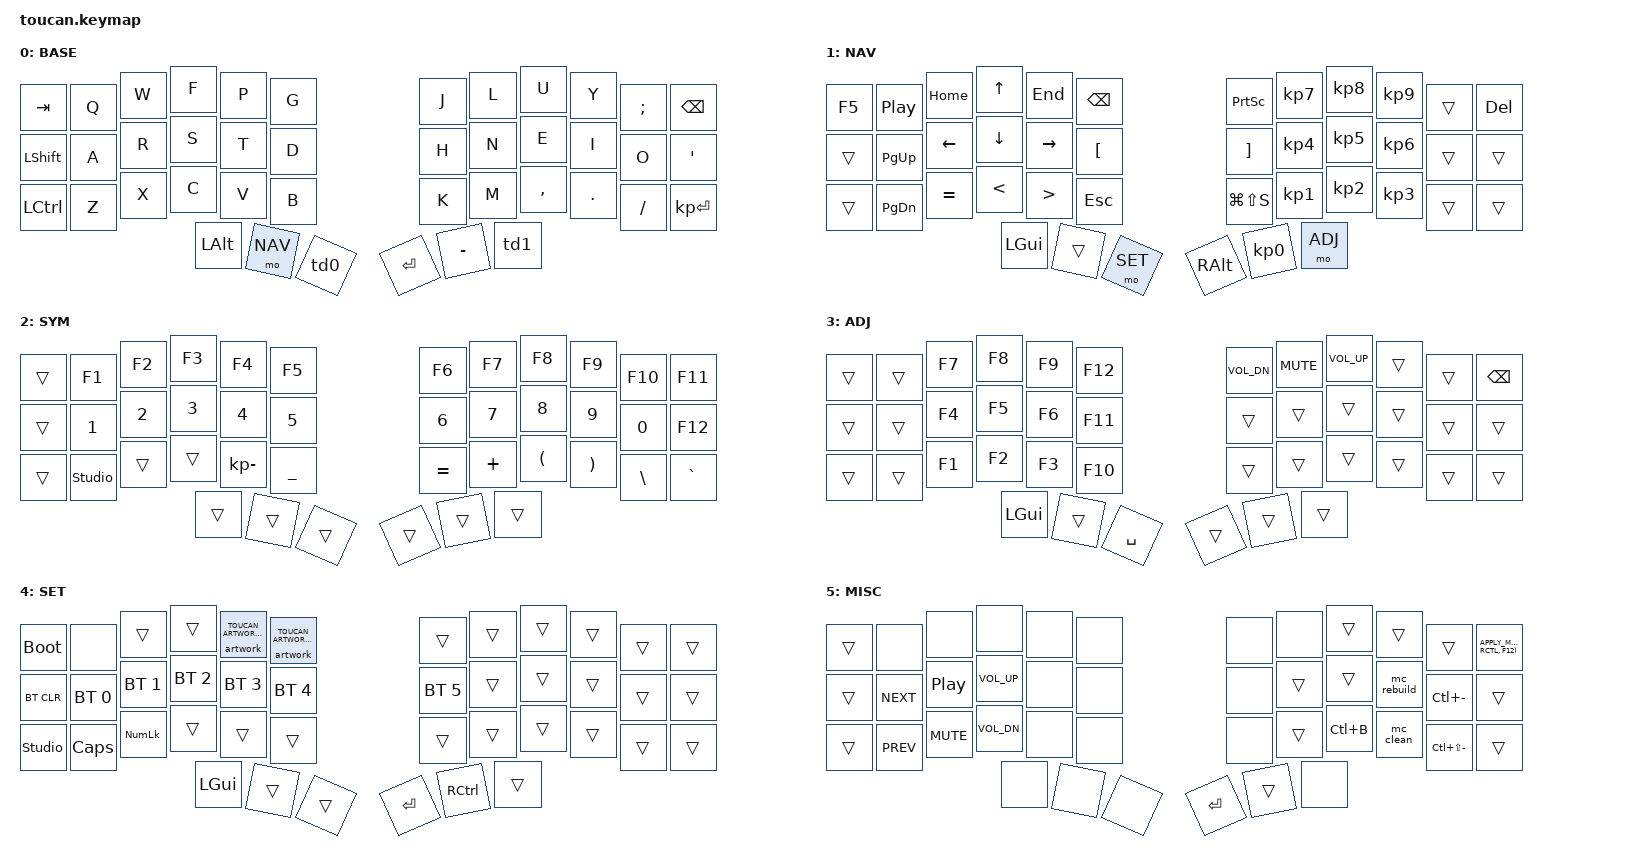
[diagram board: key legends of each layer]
#include <behaviors.dtsi>
#include <dt-bindings/zmk/keys.h>
#include <dt-bindings/zmk/bt.h>
#include <dt-bindings/zmk/outputs.h>
#include <dt-bindings/zmk/pointing.h>
#include <dt-bindings/zmk/toucan_screen.h>
#include <dt-bindings/zmk/toucan_artwork.h>


#define BASE 0
#define NAV  1
#define SYM  2
#define ADJ  3
#define SET  4
#define MISC 5

/ {
	behaviors {
		screen: toucan_screen {
			compatible = "zmk,behavior-toucan-screen";
			#binding-cells = <1>;
			display-name = "Toucan Screen";
		};

		artwork: toucan_artwork {
			compatible = "zmk,behavior-toucan-artwork";
			#binding-cells = <1>;
			display-name = "Toucan Artwork";
		};

		// Enables holding the first mod-tap key
		// by performing a tap-release-hold sequence.
		// To use it: "&qt KEYCODE1 KEYCODE2"
		qt: quick_tap {
			compatible = "zmk,behavior-hold-tap";
			label = "QUICK_TAP";
			#binding-cells = <2>;
			flavor = "hold-preferred";
			tapping-term-ms = <200>;
			quick-tap-ms = <200>;
			bindings = <&kp>, <&kp>;
		};
		
		tp: tap_prefered {
			compatible = "zmk,behavior-hold-tap";
			label = "TAP_PREFERRED";
			#binding-cells = <2>;
			flavor = "tap-preferred";
			tapping-term-ms = <200>;
			quick-tap-ms = <200>;
			bindings = <&kp>, <&kp>;
		};
		
		td0: tap_dance_win_space {
            compatible = "zmk,behavior-tap-dance";
            #binding-cells = <0>;
            tapping-term-ms = <200>;
            bindings = <&kp SPACE>, <&kp LGUI>;
        };
		
		td1: tap_dance_SYM_MISC {
            compatible = "zmk,behavior-tap-dance";
            #binding-cells = <0>;
            tapping-term-ms = <200>;
            bindings = <&mo SYM>, <&mo MISC>;
        };
		
		//td2: tap_dance_enter_fn2 {
        //    compatible = "zmk,behavior-tap-dance";
        //    #binding-cells = <0>;
        //    tapping-term-ms = <200>;
        //    bindings = <&kp ENTER>, <&mo FROWFNC2>;
        //};
		
		td3: tap_dance_ctrl_sym1 {
            compatible = "zmk,behavior-tap-dance";
            #binding-cells = <0>;
            tapping-term-ms = <200>;
            bindings = <&kp LCTRL>, <&sl 3>;
        };
		
		//td4: tap_dance_sticky_ctrl {
        //    compatible = "zmk,behavior-tap-dance";
        //    #binding-cells = <0>;
        //    tapping-term-ms = <200>;
        //    bindings = <&sk LCTRL>, <&kp LCTRL>;
        //};
	};

    combos {
        compatible = "zmk,combos";

        screen_next {
            timeout-ms = <50>;
            key-positions = <1 2>;
            bindings = <&screen TOUCAN_SCREEN_NEXT>;
            layers = <SET>;
        };
    };

	macros {
		// sometimes my device thinks a modifier is being held down
		// pressing all modifiers fixes it.
		unstick: unstick {
			label = "ZM_unstick";
			compatible = "zmk,behavior-macro";
			#binding-cells = <0>;
			bindings = <&kp LSHIFT &kp RSHIFT &kp LCTRL &kp RCTRL &kp LALT &kp RALT &kp LGUI &kp RGUI>;
		};
		
		mc_rebuild: mc_rebuild {
            compatible = "zmk,behavior-macro";
            #binding-cells = <0>;
			wait-ms = <10>;
            bindings
                = <&kp LC(K)>
                , <&macro_wait_time 50>
                , <&kp LC(LS(B))>
                ;
        };
		
		mc_clean: mc_clean {
            compatible = "zmk,behavior-macro";
            #binding-cells = <0>;
			wait-ms = <10>;
            bindings
                = <&kp LC(K)>
                , <&macro_wait_time 50>
                , <&kp LC(LS(C))>
                ;
        };
		
		mc_toggle_comment: mc_toggle_comment {
            compatible = "zmk,behavior-macro";
            #binding-cells = <0>;
			wait-ms = <10>;
            bindings
                = <&kp LC(K)>
                , <&macro_wait_time 50>
                , <&kp LC(FSLH)>
                ;
        };
	};

    // conditional_layers {
    //     compatible = "zmk,conditional-layers";
	//     tri_layer {
    //         if-layers = <1 2>;
    //         then-layer = <3>;
    //     };
    // };

    keymap {
        compatible = "zmk,keymap";

        base {
            display-name = "BASE";
            bindings = <
                &kp TAB   &kp Q &kp W &kp F &kp P &kp G         &kp J &kp L  &kp U     &kp Y   &kp SEMI &kp BSPC
                &kp LSHFT &kp A &kp R &kp S &kp T &kp D         &kp H &kp N  &kp E     &kp I   &kp O    &kp SQT
                &kp LCTRL &kp Z &kp X &kp C &kp V &kp B         &kp K &kp M  &kp COMMA &kp DOT &kp FSLH &kp KP_ENTER
                                &kp LALT &mo NAV &td0           &kp RET  &kp MINUS &td1
            >;
        };

        nav {
            display-name = "NAV";
            bindings = <
                &kp F5  &kp C_PP   &kp HOME  &kp UP    &kp END   &kp BSPC       &kp PSCRN    &kp KP_N7      &kp KP_N8 &kp KP_N9    &trans &kp DEL
                &trans  &kp PG_UP  &kp LEFT  &kp DOWN  &kp RIGHT &kp LBKT       &kp RBKT     &kp KP_N4      &kp KP_N5 &kp KP_N6 &trans &trans
                &trans  &kp PG_DN  &kp EQUAL &kp LT    &kp GT    &kp ESC        &kp LG(LS(S)) &kp KP_N1      &kp KP_N2 &kp KP_N3 &trans &trans
                                        	 &kp LGUI  &trans    &mo SET        &kp RALT     &kp KP_N0      &mo ADJ 
            >;
        };

        sym {
            display-name = "SYM";
            bindings = <
                &trans &kp F1   &kp F2   &kp F3   &kp F4   &kp F5      &kp F6 &kp F7  &kp F8 &kp F9 &kp F10 &kp F11
                &trans &kp N1   &kp N2   &kp N3   &kp N4   &kp N5      &kp N6 &kp N7  &kp N8  &kp N9 &kp N0 &kp F12 
                &trans &studio_unlock &trans &trans &kp KP_MINUS &kp UNDER      &kp EQUAL &kp PLUS  &kp LPAR &kp RPAR &kp BSLH &kp GRAVE
                                	  &trans &trans &trans             &trans   &trans    &trans
            >;
        };

        adj {
            display-name = "ADJ";
            bindings = <
                &trans   &trans &kp F7 &kp F8 &kp F9 &kp F12   &kp C_VOL_DN &kp C_MUTE  &kp C_VOL_UP &trans &trans &kp BSPC
                &trans  &trans &kp F4 &kp F5 &kp F6 &kp F11   &trans       &trans      &trans       &trans &trans &trans
                &trans  &trans &kp F1 &kp F2 &kp F3 &kp F10   &trans       &trans      &trans       &trans &trans &trans
                                   &kp LGUI &trans  &kp SPACE   &trans &trans &trans
            >;
        };
    	set  {
            display-name = "SET";
            bindings = <
                &bootloader    &none         &trans        &trans        &artwork TOUCAN_ARTWORK_PREV &artwork TOUCAN_ARTWORK_NEXT &trans &trans &trans &trans &trans &trans
                &bt BT_CLR     &bt BT_SEL 0  &bt BT_SEL 1  &bt BT_SEL 2  &bt BT_SEL 3  &bt BT_SEL 4  &bt BT_SEL 5       &trans      &trans       &trans &trans &trans
                &studio_unlock &kp CAPS      &kp KP_NUMLOCK  &trans      &trans        &trans        &trans             &trans      &trans       &trans &trans &trans
                                   			 &kp LGUI      &trans        &trans        &kp RET &kp RCTRL &trans
            >;
        };

        misc {
            display-name = "MISC";
            bindings = <
                &trans  &none      &none      &none        &none &none     &none  &none   &trans     &trans      &trans            &kp APPLY_MODS(MOD_RCTL, F12)
                &trans  &kp C_NEXT &kp C_PP   &kp C_VOL_UP &none &none     &none  &trans  &trans     &mc_rebuild &kp LC(MINUS)     &trans
                &trans  &kp C_PREV &kp C_MUTE &kp C_VOL_DN &none &none     &none  &trans  &kp LC(B)  &mc_clean   &kp LC(LS(MINUS)) &trans
                                   &none  &none &none                      &kp RET   &trans   &none
			>;
        };

        extra_3 {
                status = "reserved";
        };
    };
};
